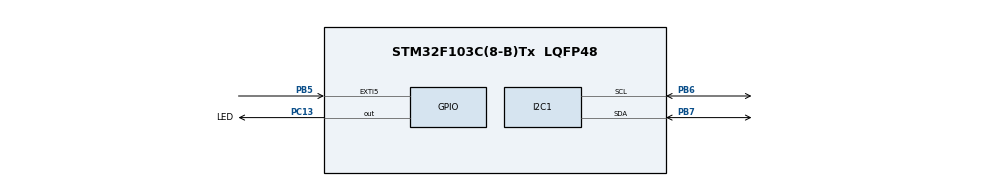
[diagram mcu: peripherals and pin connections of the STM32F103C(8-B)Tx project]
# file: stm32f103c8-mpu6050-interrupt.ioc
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I2C1.I2C_Mode=I2C_Fast
Mcu.Family=STM32F1
Mcu.Name=STM32F103C(8-B)Tx
Mcu.Package=LQFP48
NVIC.EXTI9_5_IRQn=true\:0\:0\:false\:false\:true\:true\:true
NVIC.PriorityGroup=NVIC_PRIORITYGROUP_4
PA13.Mode=Serial_Wire
PA13.Signal=SYS_JTMS-SWDIO
PA14.Mode=Serial_Wire
PA14.Signal=SYS_JTCK-SWCLK
PB5.Signal=GPXTI5
PB6.Mode=I2C
PB6.Signal=I2C1_SCL
PB7.Mode=I2C
PB7.Signal=I2C1_SDA
PC13-TAMPER-RTC.GPIO_Label=LED
PC13-TAMPER-RTC.Signal=GPIO_Output
PD0-OSC_IN.Mode=HSE-External-Oscillator
PD0-OSC_IN.Signal=RCC_OSC_IN
PD1-OSC_OUT.Mode=HSE-External-Oscillator
PD1-OSC_OUT.Signal=RCC_OSC_OUT
ProjectManager.HeapSize=0x200
ProjectManager.StackSize=0x400
ProjectManager.TargetToolchain=STM32CubeIDE
RCC.APB1Freq_Value=8000000
RCC.APB2Freq_Value=8000000
board=custom

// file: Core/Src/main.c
/* USER CODE BEGIN Header */
/**
 ******************************************************************************
 * @file           : main.c
 * @brief          : Main program body
 ******************************************************************************
 * @attention
 *
 * <h2><center>&copy; Copyright (c) 2019 STMicroelectronics.
 * All rights reserved.</center></h2>
 *
 * This software component is licensed by ST under BSD 3-Clause license,
 * the "License"; You may not use this file except in compliance with the
 * License. You may obtain a copy of the License at:
 *                        opensource.org/licenses/BSD-3-Clause
 *
 ******************************************************************************
 */
/* USER CODE END Header */

#include "main.h"

/* USER CODE BEGIN Includes */
#include "mpu6050.h"
/* USER CODE END Includes */

I2C_HandleTypeDef hi2c1;

/* USER CODE BEGIN PV */

// Declare global variable for
// control interrupt process
uint8_t intFlag = 0;

/* USER CODE END PV */

void SystemClock_Config(void);
static void MX_GPIO_Init(void);
static void MX_I2C1_Init(void);

int main(void) {

	/* MCU Configuration--------------------------------------------------------*/

	/* Reset of all peripherals, Initializes the Flash interface and the Systick. */
	HAL_Init();

	/* Configure the system clock */
	SystemClock_Config();

	/* Initialize all configured peripherals */
	MX_GPIO_Init();
	MX_I2C1_Init();
	/* USER CODE BEGIN 2 */

	// We defined our code after I2C Init...
	/* Different Sampling Rate */
	MPU6050_SamplingRate samplingRate;
	samplingRate = SR100Hz;  // 100 Hz
	//samplingRate = SR125Hz;  // 125 Hz
	//samplingRate = SR250Hz;  // 250 Hz
	//samplingRate = SR500Hz;  // 500 Hz
	// Note: After that, gyro sampling rate can be reach to 8kHz,
	// but acceleratometer sampling rate reach maximum 1kHz.
	//samplingRate = SR1000Hz; // 1000 Hz
	//samplingRate = SR2000Hz; // 2000 Hz
	//samplingRate = SR4000Hz; // 4000 Hz
	//samplingRate = SR8000Hz; // 8000 Hz

	if (MPU6050Init(&hi2c1, AR4, GR500, samplingRate) == false) {
		// Handle error if can't init.
		// You can see error code and string
		MPU6050_ErrorCode errorCode = MPU6050ErrorProperties.errorCode;
		const char *errorStr = MPU6050ErrorProperties.errorString;
		Error_Handler();
	}

	/* USER CODE END 2 */

	/* Infinite loop */
	/* USER CODE BEGIN WHILE */
	while (1) {
		if (intFlag == 1) { // Check interrupt status
			HAL_GPIO_WritePin(LED_GPIO_Port, LED_Pin, SET); // For measuring I2C process
			if (MPU6050ReadAccelValues(&hi2c1) == false) {
				// Handle error if can't read.
				// You can see error code and string
				MPU6050_ErrorCode errorCode = MPU6050ErrorProperties.errorCode;
				const char *errorStr = MPU6050ErrorProperties.errorString;
				Error_Handler();
			} else {
				// Get All Read Values
				float tempValue = MPU6050Properties.tempValue;

				float xAccValue = MPU6050Properties.xAccValue;
				float yAccValue = MPU6050Properties.yAccValue;
				float zAccValue = MPU6050Properties.zAccValue;

				float xGyroValue = MPU6050Properties.xGyroValue;
				float yGyroValue = MPU6050Properties.yGyroValue;
				float zGyroValue = MPU6050Properties.zGyroValue;
			}
			HAL_GPIO_WritePin(LED_GPIO_Port, LED_Pin, RESET); // For measuring I2C process

			intFlag = 0; // Reset Flag
		}

		/* USER CODE END WHILE */

	}
}

void SystemClock_Config(void) {
	RCC_OscInitTypeDef RCC_OscInitStruct = { 0 };
	RCC_ClkInitTypeDef RCC_ClkInitStruct = { 0 };

	/** Initializes the CPU, AHB and APB busses clocks
	 */
	RCC_OscInitStruct.OscillatorType = RCC_OSCILLATORTYPE_HSI;
	RCC_OscInitStruct.HSIState = RCC_HSI_ON;
	RCC_OscInitStruct.HSICalibrationValue = RCC_HSICALIBRATION_DEFAULT;
	RCC_OscInitStruct.PLL.PLLState = RCC_PLL_NONE;
	if (HAL_RCC_OscConfig(&RCC_OscInitStruct) != HAL_OK) {
		Error_Handler();
	}
	/** Initializes the CPU, AHB and APB busses clocks
	 */
	RCC_ClkInitStruct.ClockType = RCC_CLOCKTYPE_HCLK | RCC_CLOCKTYPE_SYSCLK
			| RCC_CLOCKTYPE_PCLK1 | RCC_CLOCKTYPE_PCLK2;
	RCC_ClkInitStruct.SYSCLKSource = RCC_SYSCLKSOURCE_HSI;
	RCC_ClkInitStruct.AHBCLKDivider = RCC_SYSCLK_DIV1;
	RCC_ClkInitStruct.APB1CLKDivider = RCC_HCLK_DIV1;
	RCC_ClkInitStruct.APB2CLKDivider = RCC_HCLK_DIV1;

	if (HAL_RCC_ClockConfig(&RCC_ClkInitStruct, FLASH_LATENCY_0) != HAL_OK) {
		Error_Handler();
	}
}

static void MX_I2C1_Init(void) {

	hi2c1.Instance = I2C1;
	hi2c1.Init.ClockSpeed = 400000;
	hi2c1.Init.DutyCycle = I2C_DUTYCYCLE_2;
	hi2c1.Init.OwnAddress1 = 0;
	hi2c1.Init.AddressingMode = I2C_ADDRESSINGMODE_7BIT;
	hi2c1.Init.DualAddressMode = I2C_DUALADDRESS_DISABLE;
	hi2c1.Init.OwnAddress2 = 0;
	hi2c1.Init.GeneralCallMode = I2C_GENERALCALL_DISABLE;
	hi2c1.Init.NoStretchMode = I2C_NOSTRETCH_DISABLE;
	if (HAL_I2C_Init(&hi2c1) != HAL_OK) {
		Error_Handler();
	}

}

static void MX_GPIO_Init(void) {
	GPIO_InitTypeDef GPIO_InitStruct = { 0 };

	/* GPIO Ports Clock Enable */
	__HAL_RCC_GPIOC_CLK_ENABLE();
	__HAL_RCC_GPIOD_CLK_ENABLE();
	__HAL_RCC_GPIOA_CLK_ENABLE();
	__HAL_RCC_GPIOB_CLK_ENABLE();

	/*Configure GPIO pin Output Level */
	HAL_GPIO_WritePin(LED_GPIO_Port, LED_Pin, GPIO_PIN_RESET);

	/*Configure GPIO pin : LED_Pin */
	GPIO_InitStruct.Pin = LED_Pin;
	GPIO_InitStruct.Mode = GPIO_MODE_OUTPUT_PP;
	GPIO_InitStruct.Pull = GPIO_NOPULL;
	GPIO_InitStruct.Speed = GPIO_SPEED_FREQ_LOW;
	HAL_GPIO_Init(LED_GPIO_Port, &GPIO_InitStruct);

	/*Configure GPIO pin : PB5 */
	GPIO_InitStruct.Pin = GPIO_PIN_5;
	GPIO_InitStruct.Mode = GPIO_MODE_IT_RISING;
	GPIO_InitStruct.Pull = GPIO_NOPULL;
	HAL_GPIO_Init(GPIOB, &GPIO_InitStruct);

	/* EXTI interrupt init*/
	HAL_NVIC_SetPriority(EXTI9_5_IRQn, 0, 0);
	HAL_NVIC_EnableIRQ(EXTI9_5_IRQn);

}

/* USER CODE BEGIN 4 */
void HAL_GPIO_EXTI_Callback(uint16_t GPIO_Pin) {
	intFlag = 1;
}
/* USER CODE END 4 */

void Error_Handler(void) {
}

/************************ (C) COPYRIGHT STMicroelectronics *****END OF FILE****/
